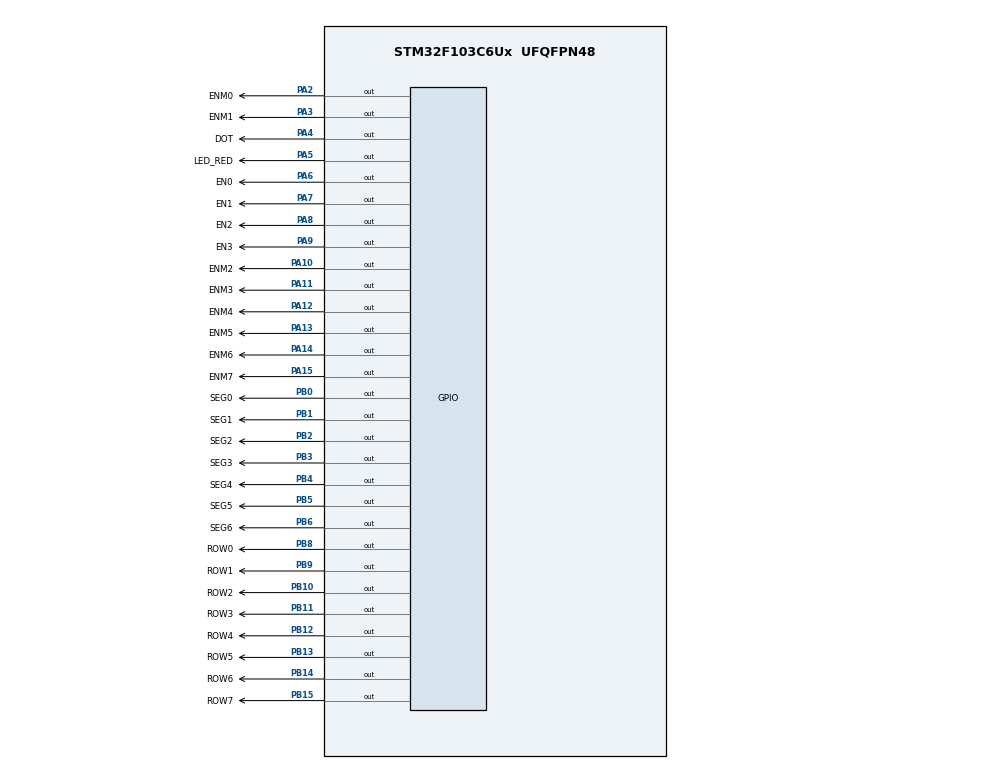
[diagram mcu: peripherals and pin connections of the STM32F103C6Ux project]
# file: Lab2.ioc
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Mcu.Family=STM32F1
Mcu.Name=STM32F103C6Ux
Mcu.Package=UFQFPN48
NVIC.PriorityGroup=NVIC_PRIORITYGROUP_4
NVIC.TIM2_IRQn=true\:0\:0\:false\:false\:true\:true\:true\:true
PA10.GPIO_Label=ENM2
PA10.Signal=GPIO_Output
PA11.GPIO_Label=ENM3
PA11.Signal=GPIO_Output
PA12.GPIO_Label=ENM4
PA12.Signal=GPIO_Output
PA13.GPIO_Label=ENM5
PA13.Signal=GPIO_Output
PA14.GPIO_Label=ENM6
PA14.Signal=GPIO_Output
PA15.GPIO_Label=ENM7
PA15.Signal=GPIO_Output
PA2.GPIO_Label=ENM0
PA2.Signal=GPIO_Output
PA3.GPIO_Label=ENM1
PA3.Signal=GPIO_Output
PA4.GPIO_Label=DOT
PA4.Signal=GPIO_Output
PA5.GPIO_Label=LED_RED
PA5.Signal=GPIO_Output
PA6.GPIO_Label=EN0
PA6.Signal=GPIO_Output
PA7.GPIO_Label=EN1
PA7.Signal=GPIO_Output
PA8.GPIO_Label=EN2
PA8.Signal=GPIO_Output
PA9.GPIO_Label=EN3
PA9.Signal=GPIO_Output
PB0.GPIO_Label=SEG0
PB0.Signal=GPIO_Output
PB1.GPIO_Label=SEG1
PB1.Signal=GPIO_Output
PB10.GPIO_Label=ROW2
PB10.Signal=GPIO_Output
PB11.GPIO_Label=ROW3
PB11.Signal=GPIO_Output
PB12.GPIO_Label=ROW4
PB12.Signal=GPIO_Output
PB13.GPIO_Label=ROW5
PB13.Signal=GPIO_Output
PB14.GPIO_Label=ROW6
PB14.Signal=GPIO_Output
PB15.GPIO_Label=ROW7
PB15.Signal=GPIO_Output
PB2.GPIO_Label=SEG2
PB2.Signal=GPIO_Output
PB3.GPIO_Label=SEG3
PB3.Signal=GPIO_Output
PB4.GPIO_Label=SEG4
PB4.Signal=GPIO_Output
PB5.GPIO_Label=SEG5
PB5.Signal=GPIO_Output
PB6.GPIO_Label=SEG6
PB6.Signal=GPIO_Output
PB8.GPIO_Label=ROW0
PB8.Signal=GPIO_Output
PB9.GPIO_Label=ROW1
PB9.Signal=GPIO_Output
ProjectManager.HeapSize=0x200
ProjectManager.StackSize=0x400
ProjectManager.TargetToolchain=STM32CubeIDE
RCC.APB1Freq_Value=8000000
RCC.APB2Freq_Value=8000000
TIM2.Period=9
TIM2.Prescaler=7999
VP_TIM2_VS_ClockSourceINT.Mode=Internal
board=custom

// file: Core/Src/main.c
/* USER CODE BEGIN Header */
/**
 ******************************************************************************
 * @file           : main.c
 * @brief          : Main program body
 ******************************************************************************
 * @attention
 *
 * Copyright (c) 2022 STMicroelectronics.
 * All rights reserved.
 *
 * This software is licensed under terms that can be found in the LICENSE file
 * in the root directory of this software component.
 * If no LICENSE file comes with this software, it is provided AS-IS.
 *
 ******************************************************************************
 */
/* USER CODE END Header */
#include "main.h"

TIM_HandleTypeDef htim2;

void SystemClock_Config(void);
static void MX_GPIO_Init(void);
static void MX_TIM2_Init(void);

/* USER CODE BEGIN 0 */
void display7SEG(int num)
{
	switch (num)
	{
	case 0:
		GPIOB->ODR = 0b1000000; // GFEDCBA
		break;
	case 1:
		GPIOB->ODR = 0b1111001; // GFEDCBA
		break;
	case 2:
		GPIOB->ODR = 0b0100100; // GFEDCBA
		break;
	case 3:
		GPIOB->ODR = 0b0110000; // GFEDCBA
		break;
	case 4:
		GPIOB->ODR = 0b0011001; // GFEDCBA
		break;
	case 5:
		GPIOB->ODR = 0b0010010; // GFEDCBA
		break;
	case 6:
		GPIOB->ODR = 0b0000010; // GFEDCBA
		break;
	case 7:
		GPIOB->ODR = 0b1111000; // GFEDCBA
		break;
	case 8:
		GPIOB->ODR = 0b0000000; // GFEDCBA
		break;
	case 9:
		GPIOB->ODR = 0b0010000; // GFEDCBA
		break;
	default:
		break;
	}
}

const int MAX_LED = 4;
int index_led = 0;
int led_buffer[4] = {0, 0, 0, 0};
void update7SEG(int index)
{
	HAL_GPIO_WritePin(EN0_GPIO_Port, EN0_Pin, GPIO_PIN_SET);
	HAL_GPIO_WritePin(EN1_GPIO_Port, EN1_Pin, GPIO_PIN_SET);
	HAL_GPIO_WritePin(EN2_GPIO_Port, EN2_Pin, GPIO_PIN_SET);
	HAL_GPIO_WritePin(EN3_GPIO_Port, EN3_Pin, GPIO_PIN_SET);
	switch (index)
	{
	case 0:
		// Display the first 7 SEG with led_buffer [0]
		HAL_GPIO_WritePin(EN0_GPIO_Port, EN0_Pin, GPIO_PIN_RESET);
		display7SEG(led_buffer[0]);
		break;
	case 1:
		// Display the second 7 SEG with led_buffer [1]
		HAL_GPIO_WritePin(EN1_GPIO_Port, EN1_Pin, GPIO_PIN_RESET);
		display7SEG(led_buffer[1]);
		break;
	case 2:
		// Display the third 7 SEG with led_buffer [2]
		HAL_GPIO_WritePin(EN2_GPIO_Port, EN2_Pin, GPIO_PIN_RESET);
		display7SEG(led_buffer[2]);
		break;
	case 3:
		// Display the forth 7 SEG with led_buffer [3]
		HAL_GPIO_WritePin(EN3_GPIO_Port, EN3_Pin, GPIO_PIN_RESET);
		display7SEG(led_buffer[3]);
		break;
	default:
		break;
	}
}

int hour = 15, minute = 8, second = 50;
void updateClockBuffer()
{
	led_buffer[0] = hour / 10;
	led_buffer[1] = hour % 10;
	led_buffer[2] = minute / 10;
	led_buffer[3] = minute % 10;
}

int timer0_counter = 0;
int timer0_flag = 0;
int TIMER_CYCLE = 10;

void set_timer0(int duration)
{
	timer0_counter = duration / TIMER_CYCLE;
	timer0_flag = 0;
}

void timer_run()
{
	if (timer0_counter > 0)
	{
		timer0_counter--;
		if (timer0_counter == 0)
			timer0_flag = 1;
	}
}

const int MAX_LED_MATRIX = 8;
int index_led_matrix = 0;
int shift = -8;
uint8_t matrix_buffer[8] = {
	0b00011000,
	0b00111100,
	0b01100110,
	0b01100110,
	0b01111110,
	0b01111110,
	0b01100110,
	0b01100110,
};

void updateLEDMatrix(int index)
{
	if (0 > index || index > MAX_LED_MATRIX)
		return;

	// ROW (reverse value BRR <-> BSRR)
	GPIOB->BSRR = ((1 << 8) - 1) << 8;				   // Reset 8 bit start at PB8
	GPIOB->BRR = ((1 << index) & ((1 << 8) - 1)) << 8; // Set 1/8 bit start at PB8

	// COL (reverse value BRR <-> BSRR)
	GPIOA->BSRR = ((1 << 2) - 1) << 2;	// Reset first 2 bits start at PA2
	GPIOA->BSRR = ((1 << 6) - 1) << 10; // Reset last 6 bits start at PA10
	int shifted_buffer = (shift < 0) ? (matrix_buffer[index] >> -shift) : (matrix_buffer[index] << shift);
	GPIOA->BRR = ((shifted_buffer >> 0) & ((1 << 2) - 1)) << 2;	 // Set first 2 bits start at PA2
	GPIOA->BRR = ((shifted_buffer >> 2) & ((1 << 6) - 1)) << 10; // Set last 6 bits start at PA10
}
/* USER CODE END 0 */

int main(void)
{

	/* MCU Configuration--------------------------------------------------------*/

	/* Reset of all peripherals, Initializes the Flash interface and the Systick. */
	HAL_Init();

	/* Configure the system clock */
	SystemClock_Config();

	/* Initialize all configured peripherals */
	MX_GPIO_Init();
	MX_TIM2_Init();
	/* USER CODE BEGIN 2 */
	HAL_TIM_Base_Start_IT(&htim2);

	int counter = 0;
	int delay = 100;
	const int COUNTER_CYCLE = 1000 / delay;
	set_timer0(1000);
	/* USER CODE END 2 */

	/* Infinite loop */
	while (1)
	{
		if (timer0_flag == 1)
		{
			if (counter == 0)
			{
				second++;
				if (second >= 60)
				{
					second = 0;
					minute++;
				}
				if (minute >= 60)
				{
					minute = 0;
					hour++;
				}
				if (hour >= 24)
				{
					hour = 0;
				}
				updateClockBuffer();

				HAL_GPIO_TogglePin(DOT_GPIO_Port, DOT_Pin);
			}
			counter = (++counter < COUNTER_CYCLE) ? counter : 0;

			update7SEG(index_led);
			index_led = (++index_led < MAX_LED) ? index_led : 0;

			updateLEDMatrix(index_led_matrix);
			if (index_led_matrix == 0)
				shift = (++shift < 8) ? shift : -8;
			index_led_matrix = (++index_led_matrix < MAX_LED_MATRIX) ? index_led_matrix : 0;

			set_timer0(delay);
		}
	}
}

void SystemClock_Config(void)
{
	RCC_OscInitTypeDef RCC_OscInitStruct = {0};
	RCC_ClkInitTypeDef RCC_ClkInitStruct = {0};

	/** Initializes the RCC Oscillators according to the specified parameters
	 * in the RCC_OscInitTypeDef structure.
	 */
	RCC_OscInitStruct.OscillatorType = RCC_OSCILLATORTYPE_HSI;
	RCC_OscInitStruct.HSIState = RCC_HSI_ON;
	RCC_OscInitStruct.HSICalibrationValue = RCC_HSICALIBRATION_DEFAULT;
	RCC_OscInitStruct.PLL.PLLState = RCC_PLL_NONE;
	if (HAL_RCC_OscConfig(&RCC_OscInitStruct) != HAL_OK)
	{
		Error_Handler();
	}

	/** Initializes the CPU, AHB and APB buses clocks
	 */
	RCC_ClkInitStruct.ClockType = RCC_CLOCKTYPE_HCLK | RCC_CLOCKTYPE_SYSCLK | RCC_CLOCKTYPE_PCLK1 | RCC_CLOCKTYPE_PCLK2;
	RCC_ClkInitStruct.SYSCLKSource = RCC_SYSCLKSOURCE_HSI;
	RCC_ClkInitStruct.AHBCLKDivider = RCC_SYSCLK_DIV1;
	RCC_ClkInitStruct.APB1CLKDivider = RCC_HCLK_DIV1;
	RCC_ClkInitStruct.APB2CLKDivider = RCC_HCLK_DIV1;

	if (HAL_RCC_ClockConfig(&RCC_ClkInitStruct, FLASH_LATENCY_0) != HAL_OK)
	{
		Error_Handler();
	}
}

static void MX_TIM2_Init(void)
{

	TIM_ClockConfigTypeDef sClockSourceConfig = {0};
	TIM_MasterConfigTypeDef sMasterConfig = {0};

	htim2.Instance = TIM2;
	htim2.Init.Prescaler = 7999;
	htim2.Init.CounterMode = TIM_COUNTERMODE_UP;
	htim2.Init.Period = 9;
	htim2.Init.ClockDivision = TIM_CLOCKDIVISION_DIV1;
	htim2.Init.AutoReloadPreload = TIM_AUTORELOAD_PRELOAD_DISABLE;
	if (HAL_TIM_Base_Init(&htim2) != HAL_OK)
	{
		Error_Handler();
	}
	sClockSourceConfig.ClockSource = TIM_CLOCKSOURCE_INTERNAL;
	if (HAL_TIM_ConfigClockSource(&htim2, &sClockSourceConfig) != HAL_OK)
	{
		Error_Handler();
	}
	sMasterConfig.MasterOutputTrigger = TIM_TRGO_RESET;
	sMasterConfig.MasterSlaveMode = TIM_MASTERSLAVEMODE_DISABLE;
	if (HAL_TIMEx_MasterConfigSynchronization(&htim2, &sMasterConfig) != HAL_OK)
	{
		Error_Handler();
	}
}

static void MX_GPIO_Init(void)
{
	GPIO_InitTypeDef GPIO_InitStruct = {0};

	/* GPIO Ports Clock Enable */
	__HAL_RCC_GPIOA_CLK_ENABLE();
	__HAL_RCC_GPIOB_CLK_ENABLE();

	/*Configure GPIO pin Output Level */
	HAL_GPIO_WritePin(GPIOA, ENM0_Pin | ENM1_Pin | DOT_Pin | LED_RED_Pin | EN0_Pin | EN1_Pin | EN2_Pin | EN3_Pin | ENM2_Pin | ENM3_Pin | ENM4_Pin | ENM5_Pin | ENM6_Pin | ENM7_Pin, GPIO_PIN_RESET);

	/*Configure GPIO pin Output Level */
	HAL_GPIO_WritePin(GPIOB, SEG0_Pin | SEG1_Pin | SEG2_Pin | ROW2_Pin | ROW3_Pin | ROW4_Pin | ROW5_Pin | ROW6_Pin | ROW7_Pin | SEG3_Pin | SEG4_Pin | SEG5_Pin | SEG6_Pin | ROW0_Pin | ROW1_Pin, GPIO_PIN_RESET);

	/*Configure GPIO pins : ENM0_Pin ENM1_Pin DOT_Pin LED_RED_Pin
							 EN0_Pin EN1_Pin EN2_Pin EN3_Pin
							 ENM2_Pin ENM3_Pin ENM4_Pin ENM5_Pin
							 ENM6_Pin ENM7_Pin */
	GPIO_InitStruct.Pin = ENM0_Pin | ENM1_Pin | DOT_Pin | LED_RED_Pin | EN0_Pin | EN1_Pin | EN2_Pin | EN3_Pin | ENM2_Pin | ENM3_Pin | ENM4_Pin | ENM5_Pin | ENM6_Pin | ENM7_Pin;
	GPIO_InitStruct.Mode = GPIO_MODE_OUTPUT_PP;
	GPIO_InitStruct.Pull = GPIO_NOPULL;
	GPIO_InitStruct.Speed = GPIO_SPEED_FREQ_LOW;
	HAL_GPIO_Init(GPIOA, &GPIO_InitStruct);

	/*Configure GPIO pins : SEG0_Pin SEG1_Pin SEG2_Pin ROW2_Pin
							 ROW3_Pin ROW4_Pin ROW5_Pin ROW6_Pin
							 ROW7_Pin SEG3_Pin SEG4_Pin SEG5_Pin
							 SEG6_Pin ROW0_Pin ROW1_Pin */
	GPIO_InitStruct.Pin = SEG0_Pin | SEG1_Pin | SEG2_Pin | ROW2_Pin | ROW3_Pin | ROW4_Pin | ROW5_Pin | ROW6_Pin | ROW7_Pin | SEG3_Pin | SEG4_Pin | SEG5_Pin | SEG6_Pin | ROW0_Pin | ROW1_Pin;
	GPIO_InitStruct.Mode = GPIO_MODE_OUTPUT_PP;
	GPIO_InitStruct.Pull = GPIO_NOPULL;
	GPIO_InitStruct.Speed = GPIO_SPEED_FREQ_LOW;
	HAL_GPIO_Init(GPIOB, &GPIO_InitStruct);
}

/* USER CODE BEGIN 4 */
void HAL_TIM_PeriodElapsedCallback(TIM_HandleTypeDef *htim)
{
	if (htim == &htim2)
	{
		timer_run();
	}
}
/* USER CODE END 4 */

void Error_Handler(void)
{
	__disable_irq();
	while (1)
	{
	}
}
